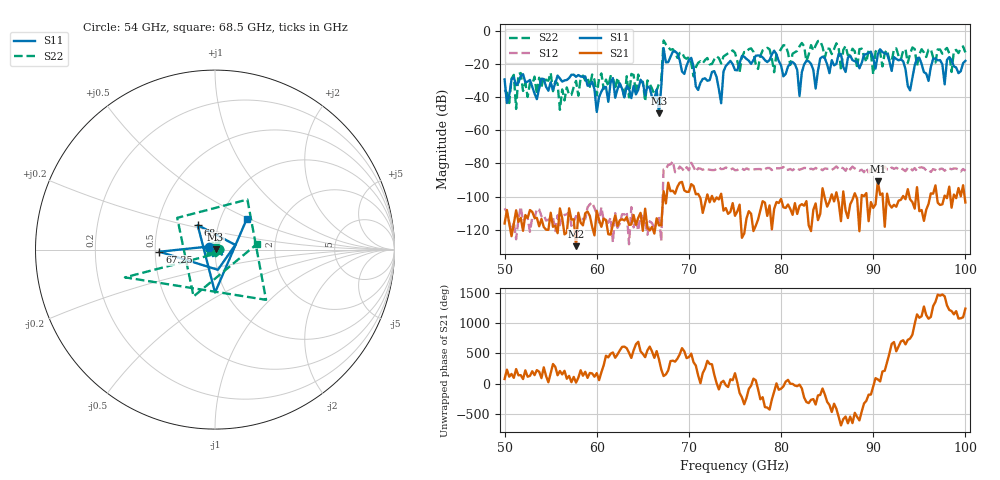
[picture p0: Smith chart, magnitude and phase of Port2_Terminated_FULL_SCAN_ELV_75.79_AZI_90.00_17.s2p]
! 11/25/2026 1:46:28 PM
! C:\ANRITSUVNA\TEMP\TEMP.S2P
! CHANNEL.1
! TR.MEASUREMENT
! RAW.DATA
# HZ S RI R 50.0
! FREQ.HZ  S11RE  S11IM  S21RE  S21IM  S12RE  S12IM  S22RE  S22IM
!; PortSelection: Port_12
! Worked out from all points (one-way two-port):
!   201 points, 50 GHz to 100 GHz, reference 50 ohm
!   highest |S21| = -90.87 dB at 90.5 GHz (marker M1); lowest = -130.0 dB at 57.75 GHz (marker M2)
!   lowest |S11| = -49.7 dB at 66.75 GHz (marker M3), VSWR 1.01, Z = 50.3 + j0.0706 ohm
!   |S11| at or under -10 dB: start of sweep to end of sweep
!   |S22| runs from -47.5 to -5.6 dB; largest |S21 - S12| = 0.00012
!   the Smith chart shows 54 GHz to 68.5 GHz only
!   S11 on the Smith chart (normalised r, x): 54 GHz: 0.93, +0.03; 67.25 GHz: 0.53, -0.01; 68 GHz: 0.80, +0.22; 68.5 GHz: 1.33, +0.49
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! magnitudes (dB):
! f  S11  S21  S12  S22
! 50 GHz  -29.1  -116.3  -107.1  -35.6
! 54 GHz  -28.7  -113.5  -112.0  -33.8
! 56 GHz  -28.6  -107.1  -117.3  -47.5
! 57.75 GHz  -27.6  -130.0  -111.9  -30.0
! 58.5 GHz  -27.7  -117.4  -113.5  -26.9
! 60 GHz  -48.8  -108.6  -110.3  -38.9
! 61.75 GHz  -28.4  -116.9  -127.7  -27.6
! 66.75 GHz  -49.7  -117.4  -111.6  -31.9
! 67.25 GHz  -10.2  -96.7  -83.6  -5.6
! 68 GHz  -15.5  -96.7  -80.6  -11.2
! 68.5 GHz  -12.1  -98.2  -85.3  -12.6
! 73.5 GHz  -43.6  -98.3  -83.4  -19.5
! 73.75 GHz  -24.3  -108.5  -83.3  -15.3
! 75 GHz  -23.5  -111.6  -84.1  -13.0
! 79.25 GHz  -11.8  -107.4  -82.9  -24.8
! 82 GHz  -39.2  -105.6  -83.9  -9.2
! 83.5 GHz  -23.4  -108.0  -83.6  -11.7
! 90.5 GHz  -13.9  -90.9  -83.6  -10.4
! 91.75 GHz  -18.2  -104.7  -84.0  -17.5
! 94 GHz  -35.8  -101.7  -82.6  -13.6
! 94.75 GHz  -16.5  -94.3  -84.5  -21.1
! 100 GHz  -17.9  -103.6  -84.5  -12.8
